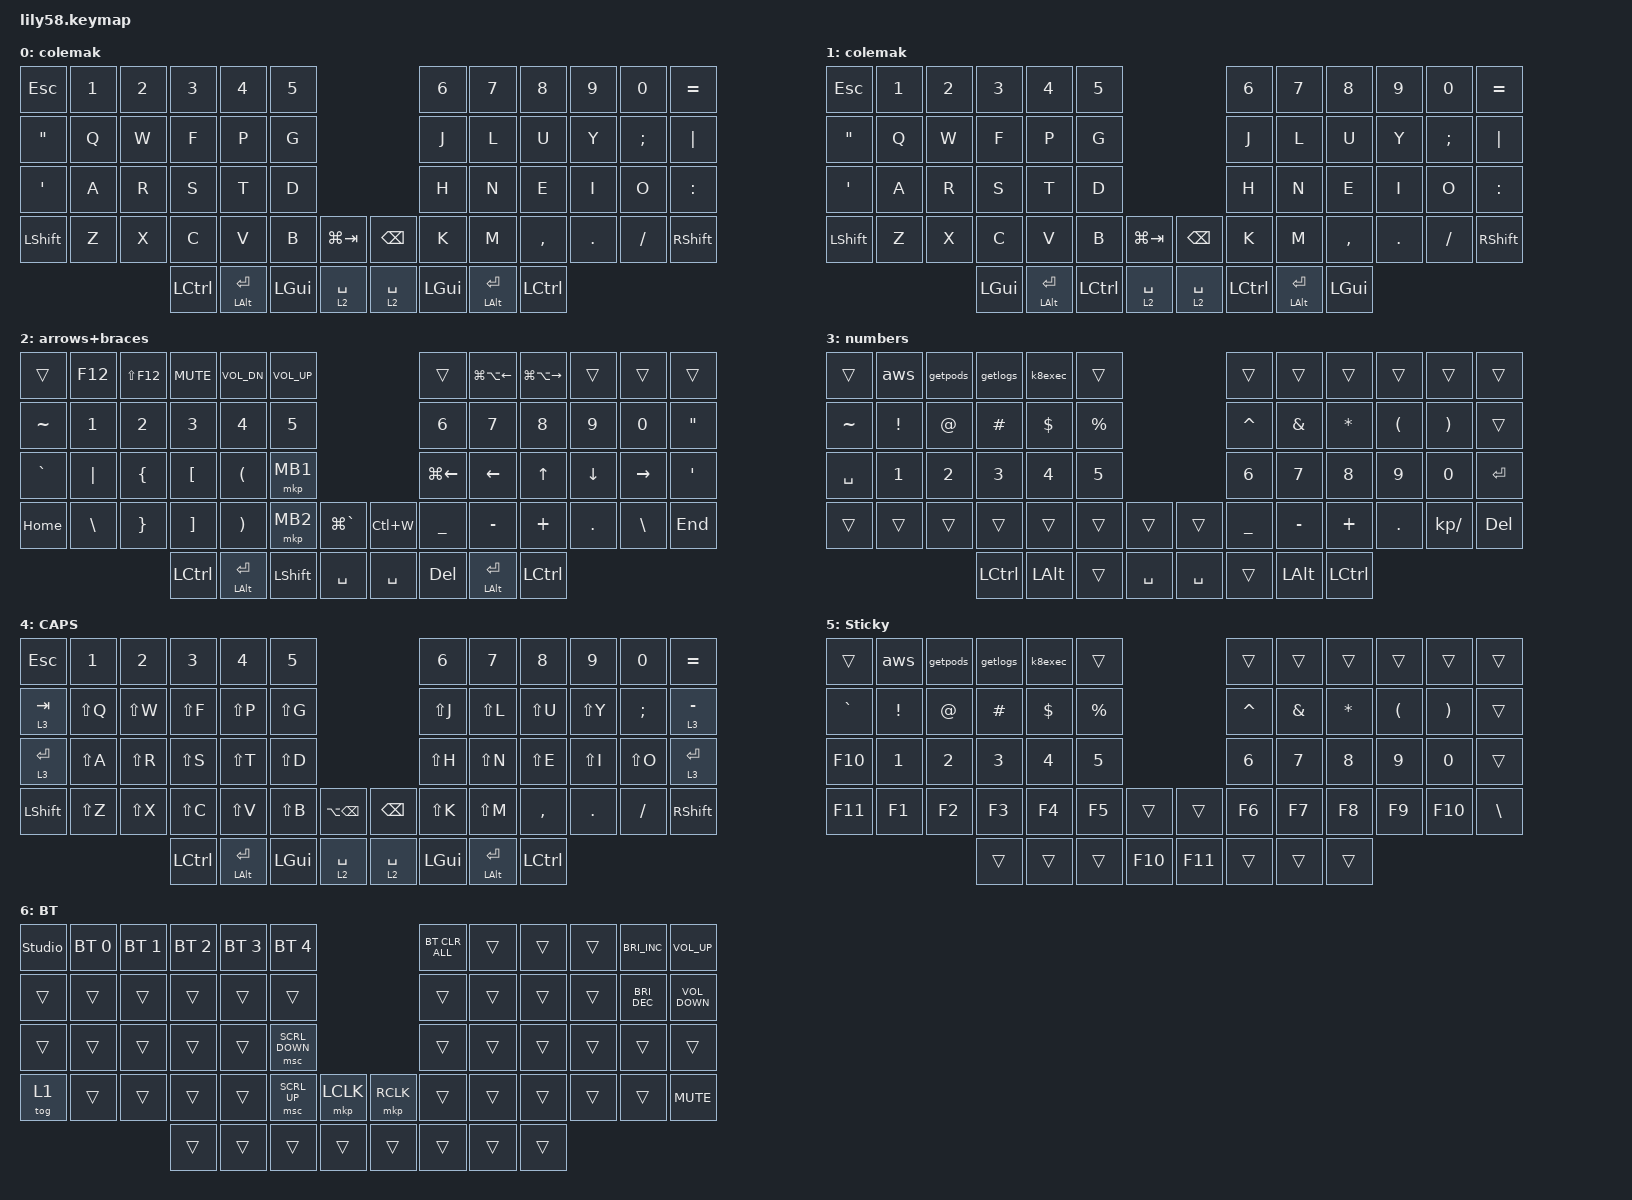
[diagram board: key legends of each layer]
/*
 * Copyright (c) 2020 The ZMK Contributors
 *
 * SPDX-License-Identifier: MIT
 */

#include <behaviors.dtsi>
#include <dt-bindings/zmk/bt.h>
#include <dt-bindings/zmk/keys.h>
#include <dt-bindings/zmk/pointing.h>

#define default_layer 0
#define lower_layer 1
#define raise_layer 2
#define adjust_layer 3
#define extra 4

/ {
    combos {
        compatible = "zmk,combos";

        double_quote {
            bindings = <&kp DOUBLE_QUOTES>;
            key-positions = <32 27>;
            timeout-ms = <30>;
        };

        bt_tog {
            bindings = <&mo 6>;
            key-positions = <50 51>;
            timeout-ms = <30>;
        };

        underscore {
            bindings = <&kp UNDER>;
            key-positions = <31 33>;
            timeout-ms = <30>;
        };

        equals {
            bindings = <&kp EQUAL>;
            key-positions = <33 32>;
            timeout-ms = <30>;
        };

        numbers_layer {
            bindings = <&mo 3>;
            key-positions = <53 54>;
            timeout-ms = <30>;
        };

        single_quote {
            bindings = <&kp APOS>;
            key-positions = <28 31>;
            timeout-ms = <30>;
        };

        dash {
            bindings = <&kp MINUS>;
            key-positions = <28 26>;
            timeout-ms = <30>;
        };

        plus {
            bindings = <&kp PLUS>;
            key-positions = <27 26>;
            timeout-ms = <30>;
        };

        colon {
            bindings = <&kp COLON>;
            key-positions = <26 33>;
            timeout-ms = <30>;
        };

        semicolon {
            bindings = <&kp SEMICOLON>;
            key-positions = <25 34>;
            timeout-ms = <30>;
        };

        left_paren {
            bindings = <&kp LEFT_PARENTHESIS>;
            key-positions = <16 19>;
            timeout-ms = <30>;
        };

        right_paren {
            bindings = <&kp RIGHT_PARENTHESIS>;
            key-positions = <40 45>;
            timeout-ms = <30>;
        };

        left_bracket {
            bindings = <&kp LEFT_BRACKET>;
            key-positions = <15 20>;
            timeout-ms = <30>;
        };

        right_bracket {
            bindings = <&kp RIGHT_BRACKET>;
            key-positions = <39 46>;
            timeout-ms = <30>;
        };

        left_brace {
            bindings = <&kp LEFT_BRACE>;
            key-positions = <14 21>;
            timeout-ms = <20>;
        };

        right_brace {
            bindings = <&kp RIGHT_BRACE>;
            key-positions = <38 47>;
            timeout-ms = <30>;
        };

        tilde {
            bindings = <&kp TILDE>;
            key-positions = <13 22>;
            timeout-ms = <30>;
        };

        backtick {
            bindings = <&kp GRAVE>;
            key-positions = <37 48>;
            timeout-ms = <30>;
        };

        backspace {
            bindings = <&kp BACKSPACE>;
            key-positions = <31 30>;
            timeout-ms = <30>;
        };

        delete {
            bindings = <&kp DELETE>;
            key-positions = <28 29>;
            timeout-ms = <30>;
        };

        caps {
            bindings = <&mo 4>;
            key-positions = <52 55>;
            timeout-ms = <30>;
        };

        you {
            bindings = <&you>;
            key-positions = <20 21>;
            timeout-ms = <30>;
        };

        enter {
            bindings = <&kp ENTER>;
            key-positions = <32 31 33>;
        };

        core {
            bindings = <&core>;
            key-positions = <39 34 26>;
        };

        arrow_func {
            bindings = <&arrow_func>;
            key-positions = <10 9>;
        };

        tabL {
            bindings = <&kp TAB>;
            key-positions = <14 26>;
        };

        nk {
            bindings = <&nk>;
            key-positions = <31 45>;
        };

        tab {
            bindings = <&kp TAB>;
            key-positions = <21 33>;
        };

        opt_backspace {
            bindings = <&kp LA(BACKSPACE)>;
            key-positions = <18 19>;
            timeout-ms = <30>;
        };

        opt_delete {
            bindings = <&kp LA(DELETE)>;
            key-positions = <16 15>;
        };

        cmd_backspace {
            bindings = <&kp LG(BACKSPACE)>;
            key-positions = <44 45>;
            timeout-ms = <30>;
        };

        cmd_delete {
            bindings = <&kp LG(DELETE)>;
            key-positions = <39 40>;
        };

        ue {
            bindings = <&ue>;
            key-positions = <20 32>;
        };

        sc {
            bindings = <&sc>;
            key-positions = <27 39>;
        };

        y. {
            bindings = <&y_period>;
            key-positions = <21 34>;
        };

        select_line {
            bindings = <&select_line>;
            key-positions = <37 38>;
        };

        enter_left {
            bindings = <&kp ENTER>;
            key-positions = <26 27 28>;
        };

        lk {
            bindings = <&lk>;
            key-positions = <19 31>;
        };

        sticky_num {
            bindings = <&sl 3>;
            key-positions = <54 31 32>;
        };

        sticky_num_left {
            bindings = <&sl 3>;
            key-positions = <27 28 53>;
        };
    };

    macros {
        you: you {
            compatible = "zmk,behavior-macro";
            #binding-cells = <0>;
            bindings = <&kp Y &kp O &kp U>;
            label = "YOU";
        };

        core: core {
            compatible = "zmk,behavior-macro";
            #binding-cells = <0>;
            bindings = <&kp LS(C) &kp LS(O) &kp LS(R) &kp LS(E) &kp MINUS>;
            label = "CORE";
        };

        arrow_func: arrow_func {
            compatible = "zmk,behavior-macro";
            #binding-cells = <0>;
            bindings = <&kp LPAR &kp RPAR &kp SPACE &kp EQUAL &kp GT &kp SPACE &kp LBRC>;
            label = "ARROW_FUNC";
        };

        ue: ue {
            compatible = "zmk,behavior-macro";
            #binding-cells = <0>;
            bindings = <&kp U &kp E>;
            label = "UE";
        };

        sc: sc {
            compatible = "zmk,behavior-macro";
            #binding-cells = <0>;
            bindings = <&kp S &kp C>;
            label = "SC";
        };

        y_period: y_period {
            compatible = "zmk,behavior-macro";
            #binding-cells = <0>;
            bindings = <&kp Y &kp DOT>;
            label = "Y_PERIOD";
        };

        select_line: select_line {
            compatible = "zmk,behavior-macro";
            #binding-cells = <0>;
            bindings = <&kp HOME &kp LS(END)>;
            label = "SELECT_LINE";
        };

        lk: lk {
            compatible = "zmk,behavior-macro";
            #binding-cells = <0>;
            bindings = <&kp L &kp K>;
            label = "LK";
        };

        nk: nk {
            compatible = "zmk,behavior-macro";
            #binding-cells = <0>;
            bindings = <&kp N &kp K>;
            label = "NK";
        };

        aws: aws {
            compatible = "zmk,behavior-macro";
            #binding-cells = <0>;
            bindings = <&kp A &kp W &kp S &kp MINUS &kp M &kp F &kp A &kp SPACE &kp MINUS &kp MINUS &kp D &kp E &kp V &kp I &kp C &kp E &kp SPACE &kp A &kp R &kp N &kp COLON &kp A &kp W &kp S &kp COLON &kp I &kp A &kp M &kp COLON &kp COLON &kp COLON &kp M &kp F &kp A &kp FSLH &kp R &kp O &kp B &kp I &kp N &kp DOT &kp J &kp U &kp N>;
            label = "AWS";
        };

        getpods: getpods {
            compatible = "zmk,behavior-macro";
            #binding-cells = <0>;
            bindings = <&none &kp K &kp U &kp B &kp E &kp C &kp T &kp L &kp SPACE &kp G &kp E &kp T &kp SPACE &kp P &kp O &kp D &kp S &kp SPACE &kp MINUS &kp N &kp EQUAL &kp S &kp T &kp A &kp G &kp I &kp N &kp G>;
            label = "GETPODS";
        };

        getlogs: getlogs {
            compatible = "zmk,behavior-macro";
            #binding-cells = <0>;
            bindings = <&kp K &kp U &kp B &kp E &kp C &kp T &kp L &kp SPACE &kp L &kp O &kp G &kp S &kp SPACE &kp MINUS &kp F &kp SPACE &kp LT &kp P &kp O &kp D &kp UNDER &kp N &kp A &kp M &kp E &kp GT &kp SPACE &kp MINUS &kp N &kp EQUAL &kp S &kp T &kp A &kp G &kp I &kp N &kp G>;
            label = "GETLOGS";
        };

        k8exec: k8exec {
            compatible = "zmk,behavior-macro";
            #binding-cells = <0>;
            bindings = <&kp K &kp U &kp B &kp E &kp C &kp T &kp L &kp SPACE &kp E &kp X &kp E &kp C &kp SPACE &kp MINUS &kp I &kp T &kp SPACE &kp MINUS &kp C &kp SPACE &kp S &kp E &kp R &kp V &kp I &kp C &kp E &kp SPACE &kp MINUS &kp N &kp SPACE &kp S &kp T &kp A &kp G &kp I &kp N &kp G &kp SPACE &kp LT &kp P &kp O &kp D &kp UNDER &kp N &kp A &kp M &kp E &kp GT &kp SPACE &kp MINUS &kp MINUS &kp SPACE &kp FSLH &kp B &kp I &kp N &kp FSLH &kp B &kp A &kp S &kp H>;
            label = "K8EXEC";
        };
    };

    keymap {
        compatible = "zmk,keymap";

        colemak {
            display-name = "colemak";
            bindings = <
&kp ESC            &kp N1  &kp N2  &kp N3     &kp N4               &kp N5                                      &kp N6        &kp N7               &kp N8     &kp N9   &kp N0         &kp EQUAL
&kp DOUBLE_QUOTES  &kp Q   &kp W   &kp F      &kp P                &kp G                                       &kp J         &kp L                &kp U      &kp Y    &kp SEMICOLON  &kp PIPE
&kp SINGLE_QUOTE   &kp A   &kp R   &kp S      &kp T                &kp D                                       &kp H         &kp N                &kp E      &kp I    &kp O          &kp COLON
&kp LEFT_SHIFT     &kp Z   &kp X   &kp C      &kp V                &kp B         &kp LG(TAB)    &kp BACKSPACE  &kp K         &kp M                &kp COMMA  &kp DOT  &kp FSLH       &kp RIGHT_SHIFT
                                   &kp LCTRL  &mt LEFT_ALT RETURN  &kp LEFT_GUI  &lt 2 SPACE    &lt 2 SPACE    &kp LEFT_GUI  &mt LEFT_ALT RETURN  &kp LCTRL
            >;
        };

        windows {
            display-name = "colemak";
            bindings = <
&kp ESC            &kp N1  &kp N2  &kp N3        &kp N4               &kp N5                                          &kp N6            &kp N7               &kp N8        &kp N9   &kp N0         &kp EQUAL
&kp DOUBLE_QUOTES  &kp Q   &kp W   &kp F         &kp P                &kp G                                           &kp J             &kp L                &kp U         &kp Y    &kp SEMICOLON  &kp PIPE
&kp SINGLE_QUOTE   &kp A   &kp R   &kp S         &kp T                &kp D                                           &kp H             &kp N                &kp E         &kp I    &kp O          &kp COLON
&kp LEFT_SHIFT     &kp Z   &kp X   &kp C         &kp V                &kp B             &kp LG(TAB)    &kp BACKSPACE  &kp K             &kp M                &kp COMMA     &kp DOT  &kp FSLH       &kp RIGHT_SHIFT
                                   &kp LEFT_GUI  &mt LEFT_ALT RETURN  &kp LEFT_CONTROL  &lt 2 SPACE    &lt 2 SPACE    &kp LEFT_CONTROL  &mt LEFT_ALT RETURN  &kp LEFT_GUI
            >;
        };

        arrows+braces {
            display-name = "arrows+braces";

            // ------------------------------------------------------------------------------------------------------------
            // | BTCLR | BT1 | BT2 |  BT3 |  BT4 |  BT5 |                   |      |       |       |      |       |       |
            // |  F1   |  F2 |  F3 |  F4  |  F5  |  F6  |                   |  F7  |  F8   |  F9   |  F10 |  F11  |  F12  |
            // |   `   |  !  |  @  |  #   |  $   |  %   |                   |  ^   |  &    |  *    |  (   |   )   |   ~   |
            // |       |     |     |      |      |      |        |  |       |      |  _    |  +    |  {   |   }   |  "|"  |
            //                     |      |      |      |        |  |       |      |       |       |

            bindings = <
&trans     &kp F12        &kp LS(F12)      &kp K_MUTE         &kp C_VOL_DN           &kp C_VOLUME_UP                              &trans              &kp LG(LA(LEFT))    &kp LG(LA(RIGHT))  &trans      &trans         &trans
&kp TILDE  &kp NUMBER_1   &kp NUMBER_2     &kp NUMBER_3       &kp NUMBER_4           &kp N5                                       &kp NUMBER_6        &kp N7              &kp N8             &kp N9      &kp N0         &kp DOUBLE_QUOTES
&kp GRAVE  &kp PIPE       &kp LEFT_BRACE   &kp LEFT_BRACKET   &kp LEFT_PARENTHESIS   &mkp MB1                                     &kp LG(LEFT_ARROW)  &kp LEFT            &kp UP_ARROW       &kp DOWN    &kp RIGHT      &kp SINGLE_QUOTE
&kp HOME   &kp BACKSLASH  &kp RIGHT_BRACE  &kp RIGHT_BRACKET  &kp RIGHT_PARENTHESIS  &mkp MB2         &kp LG(GRAVE)    &kp LC(W)  &kp UNDER           &kp MINUS           &kp PLUS           &kp PERIOD  &kp BACKSLASH  &kp END
                                           &kp LCTRL          &mt LEFT_ALT ENTER     &kp LEFT_SHIFT   &kp SPACE        &kp SPACE  &kp DELETE          &mt LEFT_ALT ENTER  &kp LCTRL
            >;
        };

        numbers {
            display-name = "numbers";

            // ------------------------------------------------------------------------------------------------------------
            // |       |     |     |      |      |      |                   |      |       |       |      |       |       |
            // |   `   |  1  |  2  |  3   |  4   |  5   |                   |  6   |   7   |   8   |  9   |   0   |       |
            // |   F1  |  F2 |  F3 |  F4  |  F5  |  F6  |                   |      |   <-  |   v   |  ^   |  ->   |       |
            // |   F7  |  F8 |  F9 |  F10 |  F11 |  F12 |        |  |       |  +   |   -   |   =   |  [   |   ]   |   \   |
            //                     |      |      |      |        |  |       |      |       |       |

            bindings = <
&trans     &aws          &getpods      &getlogs      &k8exec       &trans                               &trans        &trans         &trans     &trans                &trans                 &trans
&kp TILDE  &kp EXCL      &kp AT        &kp HASH      &kp DOLLAR    &kp PERCENT                          &kp CARET     &kp AMPERSAND  &kp ASTRK  &kp LEFT_PARENTHESIS  &kp RIGHT_PARENTHESIS  &trans
&kp SPACE  &kp NUMBER_1  &kp NUMBER_2  &kp NUMBER_3  &kp NUMBER_4  &kp N5                               &kp NUMBER_6  &kp N7         &kp N8     &kp N9                &kp N0                 &kp ENTER
&trans     &trans        &trans        &trans        &trans        &trans       &trans       &trans     &kp UNDER     &kp MINUS      &kp PLUS   &kp PERIOD            &kp KP_SLASH           &kp DELETE
                                       &kp LCTRL     &kp LEFT_ALT  &trans       &kp SPACE    &kp SPACE  &trans        &kp LEFT_ALT   &kp LCTRL
            >;
        };

        caps {
            display-name = "CAPS";
            bindings = <
&kp ESC         &kp N1     &kp N2     &kp N3     &kp N4               &kp N5                                            &kp N6        &kp N7               &kp N8     &kp N9     &kp N0         &kp EQUAL
&lt 3 TAB       &kp LS(Q)  &kp LS(W)  &kp LS(F)  &kp LS(P)            &kp LS(G)                                         &kp LS(J)     &kp LS(L)            &kp LS(U)  &kp LS(Y)  &kp SEMICOLON  &lt 3 MINUS
&lt 3 ENTER     &kp LS(A)  &kp LS(R)  &kp LS(S)  &kp LS(T)            &kp LS(D)                                         &kp LS(H)     &kp LS(N)            &kp LS(E)  &kp LS(I)  &kp LS(O)      &lt 3 ENTER
&kp LEFT_SHIFT  &kp LS(Z)  &kp LS(X)  &kp LS(C)  &kp LS(V)            &kp LS(B)     &kp LA(BACKSPACE)    &kp BACKSPACE  &kp LS(K)     &kp LS(M)            &kp COMMA  &kp DOT    &kp FSLH       &kp RIGHT_SHIFT
                                      &kp LCTRL  &mt LEFT_ALT RETURN  &kp LEFT_GUI  &lt 2 SPACE          &lt 2 SPACE    &kp LEFT_GUI  &mt LEFT_ALT RETURN  &kp LCTRL
            >;
        };

        sticky_layer {
            display-name = "Sticky";

            // ------------------------------------------------------------------------------------------------------------
            // |       |     |     |      |      |      |                   |      |       |       |      |       |       |
            // |   `   |  1  |  2  |  3   |  4   |  5   |                   |  6   |   7   |   8   |  9   |   0   |       |
            // |   F1  |  F2 |  F3 |  F4  |  F5  |  F6  |                   |      |   <-  |   v   |  ^   |  ->   |       |
            // |   F7  |  F8 |  F9 |  F10 |  F11 |  F12 |        |  |       |  +   |   -   |   =   |  [   |   ]   |   \   |
            //                     |      |      |      |        |  |       |      |       |       |

            bindings = <
&trans     &aws          &getpods      &getlogs      &k8exec       &trans                           &trans        &trans         &trans        &trans                &trans                 &trans
&kp GRAVE  &kp EXCL      &kp AT        &kp HASH      &kp DOLLAR    &kp PERCENT                      &kp CARET     &kp AMPERSAND  &kp ASTERISK  &kp LEFT_PARENTHESIS  &kp RIGHT_PARENTHESIS  &trans
&kp F10    &kp NUMBER_1  &kp NUMBER_2  &kp NUMBER_3  &kp NUMBER_4  &kp N5                           &kp NUMBER_6  &kp N7         &kp N8        &kp N9                &kp N0                 &trans
&kp F11    &kp F1        &kp F2        &kp F3        &kp F4        &kp F5       &trans     &trans   &kp F6        &kp F7         &kp F8        &kp F9                &kp F10                &kp BSLH
                                       &trans        &trans        &trans       &kp F10    &kp F11  &trans        &trans         &trans
            >;
        };

        bt_and_layer_toggle {
            display-name = "BT";

            // ------------------------------------------------------------------------------------------------------------
            // |       |     |     |      |      |      |                   |      |       |       |      |       |       |
            // |   `   |  1  |  2  |  3   |  4   |  5   |                   |  6   |   7   |   8   |  9   |   0   |       |
            // |   F1  |  F2 |  F3 |  F4  |  F5  |  F6  |                   |      |   <-  |   v   |  ^   |  ->   |       |
            // |   F7  |  F8 |  F9 |  F10 |  F11 |  F12 |        |  |       |  +   |   -   |   =   |  [   |   ]   |   \   |
            //                     |      |      |      |        |  |       |      |       |       |

            bindings = <
&studio_unlock  &bt BT_SEL 0  &bt BT_SEL 1  &bt BT_SEL 2  &bt BT_SEL 3  &bt BT_SEL 4                            &bt BT_CLR_ALL  &trans  &trans  &trans  &kp C_BRIGHTNESS_INC  &kp C_VOLUME_UP
&trans          &trans        &trans        &trans        &trans        &trans                                  &trans          &trans  &trans  &trans  &kp C_BRIGHTNESS_DEC  &kp C_VOLUME_DOWN
&trans          &trans        &trans        &trans        &trans        &msc SCRL_DOWN                          &trans          &trans  &trans  &trans  &trans                &trans
&tog 1          &trans        &trans        &trans        &trans        &msc SCRL_UP    &mkp LCLK    &mkp RCLK  &trans          &trans  &trans  &trans  &trans                &kp K_MUTE
                                            &trans        &trans        &trans          &trans       &trans     &trans          &trans  &trans
            >;
        };
    };
};
